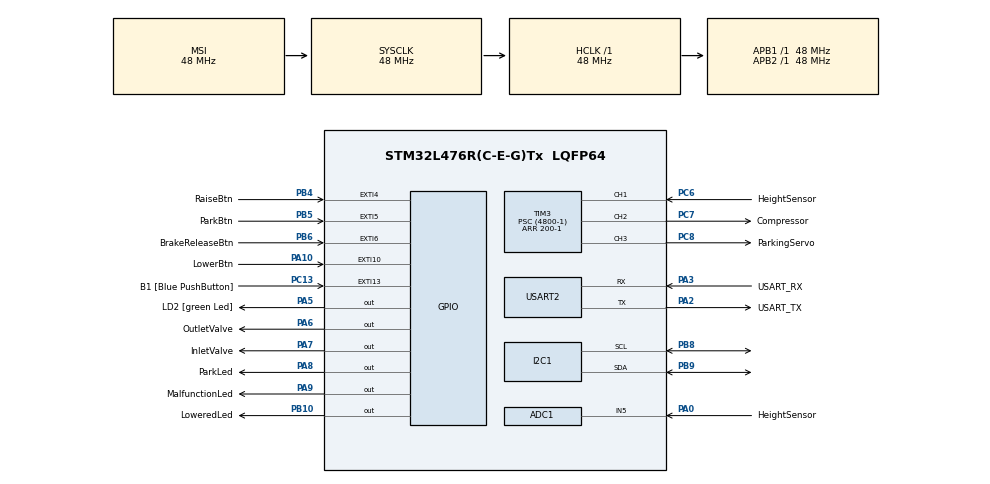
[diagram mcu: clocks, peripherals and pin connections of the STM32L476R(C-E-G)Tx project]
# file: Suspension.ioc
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Mcu.Family=STM32L4
NVIC.ADC1_2_IRQn=true\:0\:0\:false\:false\:true\:true\:true
PA2.GPIO_PuPd=GPIO_NOPULL
RCC.CortexFreq_Value=48000000
ADC1.ContinuousConvMode=ENABLE
PH0-OSC_IN\ (PH0).Signal=RCC_OSC_IN
PA3.GPIO_PuPd=GPIO_NOPULL
PB6.GPIO_ModeDefaultEXTI=GPIO_MODE_IT_FALLING
PA0.GPIO_Label=HeightSensor
PA2.GPIO_Speed=GPIO_SPEED_FREQ_VERY_HIGH
PC6.GPIO_Label=HeightSensor
PA6.GPIO_Label=OutletValve
PB6.GPIO_Label=BrakeReleaseBtn
PC15-OSC32_OUT\ (PC15).Mode=LSE-External-Oscillator
PC13.GPIO_Label=B1 [Blue PushButton]
PA3.GPIO_Speed=GPIO_SPEED_FREQ_VERY_HIGH
ProjectManager.StackSize=0x400
PB3\ (JTDO-TRACESWO).Signal=SYS_JTDO-SWO
PC14-OSC32_IN\ (PC14).Mode=LSE-External-Oscillator
PA14\ (JTCK-SWCLK).Signal=SYS_JTCK-SWCLK
PB4\ (NJTRST).GPIO_ModeDefaultEXTI=GPIO_MODE_IT_FALLING
RCC.HCLKFreq_Value=48000000
ADC1.Resolution=ADC_RESOLUTION_8B
RCC.APB2TimFreq_Value=48000000
TIM3.Period=200-1
PB6.Signal=GPXTI6
PC7.Signal=S_TIM3_CH2
RCC.AHBFreq_Value=48000000
RCC.PREFETCH_ENABLE=1
NVIC.EXTI15_10_IRQn=true\:2\:0\:true\:false\:true\:true\:true
ADC1.Channel-0\#ChannelRegularConversion=ADC_CHANNEL_5
TIM3.Pulse-PWM\ Generation3\ CH3=15-1
RCC.HSE_VALUE=8000000
TIM3.Channel-Input_Capture1_from_TI1=TIM_CHANNEL_1
USART2.VirtualMode-Asynchronous=VM_ASYNC
TIM3.Prescaler=(4800-1)
PA5.GPIO_PuPd=GPIO_NOPULL
PA10.GPIO_Label=LowerBtn
PC13.GPIO_PuPd=GPIO_NOPULL
PA8.Signal=GPIO_Output
SH.S_TIM3_CH1.0=TIM3_CH1,Input_Capture1_from_TI1
ADC1.SamplingTime-0\#ChannelRegularConversion=ADC_SAMPLETIME_12CYCLES_5
PA0.Signal=ADCx_IN5
Mcu.Package=LQFP64
PB9.Signal=I2C1_SDA
PA6.Signal=GPIO_Output
PA10.GPIO_ModeDefaultEXTI=GPIO_MODE_IT_FALLING
PA2.GPIO_Label=USART_TX
PA10.Signal=GPXTI10
PB5.GPIO_Label=ParkBtn
RCC.APB1TimFreq_Value=48000000
TIM3.Pulse-PWM\ Generation2\ CH2=100-1
PA13\ (JTMS-SWDIO).Signal=SYS_JTMS-SWDIO
RCC.MSIClockRange=RCC_MSIRANGE_11
PA3.Signal=USART2_RX
PA2.GPIO_Mode=GPIO_MODE_AF_PP
PB5.GPIO_ModeDefaultEXTI=GPIO_MODE_IT_FALLING
RCC.MSI_VALUE=48000000
RCC.PLLSourceVirtual=RCC_PLLSOURCE_HSI
PA14\ (JTCK-SWCLK).Mode=Serial_Wire
NVIC.EXTI4_IRQn=true\:2\:0\:true\:false\:true\:true\:true
ADC1.Rank-0\#ChannelRegularConversion=1
ADC1.OffsetNumber-0\#ChannelRegularConversion=ADC_OFFSET_NONE
PC13.Signal=GPXTI13
PA9.GPIO_Label=MalfunctionLed
PC8.Signal=S_TIM3_CH3
PC6.Signal=S_TIM3_CH1
PC15-OSC32_OUT\ (PC15).Signal=RCC_OSC32_OUT
PA14\ (JTCK-SWCLK).GPIO_Label=TCK
PB3\ (JTDO-TRACESWO).GPIO_Label=SWO
SH.S_TIM3_CH3.0=TIM3_CH3,PWM Generation3 CH3
PH1-OSC_OUT\ (PH1).Signal=RCC_OSC_OUT
PC8.GPIO_Label=ParkingServo
PA3.Mode=Asynchronous
TIM3.Channel-PWM\ Generation3\ CH3=TIM_CHANNEL_3
PA8.GPIO_Label=ParkLed
ProjectManager.TargetToolchain=MDK-ARM V5.27
PB10.GPIO_Label=LoweredLed
PA3.GPIO_Mode=GPIO_MODE_AF_PP
PB9.Mode=I2C
PA9.Signal=GPIO_Output
I2C1.Timing=0x20303E5D
RCC.USBFreq_Value=64000000
PB10.Signal=GPIO_Output
PA5.Signal=GPIO_Output
SH.S_TIM3_CH2.0=TIM3_CH2,PWM Generation2 CH2
board=NUCLEO-L476RG
RCC.VCOOutputFreq_Value=160000000
NVIC.TIM3_IRQn=true\:1\:0\:true\:false\:true\:true\:true
RCC.APB2Freq_Value=48000000
PA5.GPIO_ModeDefaultOutputPP=GPIO_MODE_OUTPUT_PP
PA13\ (JTMS-SWDIO).GPIO_Label=TMS
RCC.ADCFreq_Value=64000000
ADC1.NbrOfConversion=1
Mcu.Name=STM32L476R(C-E-G)Tx
PA2.Signal=USART2_TX
PC7.GPIO_Label=Compressor
PA13\ (JTMS-SWDIO).Mode=Serial_Wire
RCC.SYSCLKFreq_VALUE=48000000
PB5.Signal=GPXTI5
PA7.GPIO_Label=InletValve
ADC1.master=1
PA5.GPIO_Label=LD2 [green Led]
PC13.GPIO_ModeDefaultEXTI=GPIO_MODE_IT_FALLING
PC14-OSC32_IN\ (PC14).Signal=RCC_OSC32_IN
NVIC.EXTI9_5_IRQn=true\:2\:0\:true\:false\:true\:true\:true
ProjectManager.HeapSize=0x200
RCC.HSI_VALUE=16000000
SH.ADCx_IN5.0=ADC1_IN5,IN5-Single-Ended
PA5.GPIO_Speed=GPIO_SPEED_FREQ_LOW
NVIC.PriorityGroup=NVIC_PRIORITYGROUP_4
ADC1.NbrOfConversionFlag=1
TIM3.Channel-PWM\ Generation2\ CH2=TIM_CHANNEL_2
PB8.Mode=I2C
RCC.PLLN=10
PA2.Mode=Asynchronous
PB8.Signal=I2C1_SCL
PB4\ (NJTRST).GPIO_Label=RaiseBtn
RCC.APB1Freq_Value=48000000
ADC1.ClockPrescaler=ADC_CLOCK_ASYNC_DIV16
PA3.GPIO_Label=USART_RX
PA7.Signal=GPIO_Output
PB4\ (NJTRST).Signal=GPXTI4

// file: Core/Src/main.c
/* USER CODE BEGIN Header */
/**
  ******************************************************************************
  * @file           : main.c
  * @brief          : Main program body
  ******************************************************************************
  * @attention
  *
  * <h2><center>&copy; Copyright (c) 2020 STMicroelectronics.
  * All rights reserved.</center></h2>
  *
  * This software component is licensed by ST under BSD 3-Clause license,
  * the "License"; You may not use this file except in compliance with the
  * License. You may obtain a copy of the License at:
  *                        opensource.org/licenses/BSD-3-Clause
  *
  ******************************************************************************
  */
/* USER CODE END Header */
#include "main.h"

/* USER CODE BEGIN Includes */
#include <string.h>
#include <stdio.h>
/* USER CODE END Includes */

/* USER CODE BEGIN PTD */
enum PBrakeStates{RELEASED,ENGAGED};
enum SuspensionStates {NORMAL, LOWERING, LOW, RAISING};
/* USER CODE END PTD */

ADC_HandleTypeDef hadc1;

I2C_HandleTypeDef hi2c1;

TIM_HandleTypeDef htim3;

UART_HandleTypeDef huart2;

/* USER CODE BEGIN PV */
static const uint8_t TMP_102_ADDR = 0x48 << 1; // Use 8-bit address on the I2C bus
static const uint8_t REG_TEMP = 0x00; // Temperature register address

/* USER CODE END PV */

void SystemClock_Config(void);
static void MX_GPIO_Init(void);
static void MX_ADC1_Init(void);
static void MX_USART2_UART_Init(void);
static void MX_I2C1_Init(void);
static void MX_TIM3_Init(void);

/* USER CODE BEGIN 0 */
// Global states and variables
volatile uint8_t PBrake = RELEASED;
volatile uint8_t Suspension = NORMAL;
volatile uint8_t Malfunction = 0;
volatile uint16_t Height = 0;
/* Captured Values */
uint32_t uwIC2Value1 = 0;
uint32_t uwIC2Value2 = 0;
uint32_t uwDiffCapture = 0;

/* Capture index */
uint16_t uhCaptureIndex = 0;

/* Frequency Value */
uint32_t uwFrequency = 0;

/* USER CODE END 0 */

int main(void)
{
  /* USER CODE BEGIN 1 */
	uint8_t buf[40];
	int16_t val;
	float temp_c;

  /* USER CODE END 1 */

  /* MCU Configuration--------------------------------------------------------*/

  /* Reset of all peripherals, Initializes the Flash interface and the Systick. */
  HAL_Init();

  /* Configure the system clock */
  SystemClock_Config();

  /* Initialize all configured peripherals */
  MX_GPIO_Init();
  MX_ADC1_Init();
  MX_USART2_UART_Init();
  MX_I2C1_Init();
  MX_TIM3_Init();
  /* USER CODE BEGIN 2 */
	HAL_TIM_PWM_Start(&htim3, TIM_CHANNEL_3);
	HAL_ADC_Start_IT(&hadc1);
	strcpy((char*)buf, "\n Automotive Systems 2: Suspension demo\r\n");
	HAL_UART_Transmit(&huart2, buf, strlen((char*)buf), HAL_MAX_DELAY);
  /* USER CODE END 2 */

  /* Infinite loop */
  /* USER CODE BEGIN WHILE */
  while (1)
  {
		HAL_GPIO_TogglePin (GPIOA, GPIO_PIN_5);  /* To show that the system is alive */
		switch (Suspension){
			case LOWERING:
				HAL_GPIO_TogglePin(LoweredLed_GPIO_Port, LoweredLed_Pin);
				break;
			case RAISING:
				HAL_GPIO_TogglePin(LoweredLed_GPIO_Port, LoweredLed_Pin);
				break;
			case NORMAL:
				HAL_GPIO_WritePin(LoweredLed_GPIO_Port, LoweredLed_Pin, GPIO_PIN_RESET);
				break;
			case LOW:
				HAL_GPIO_WritePin(LoweredLed_GPIO_Port, LoweredLed_Pin, GPIO_PIN_SET);
				break;
			default:
				break;
		}
		if (Malfunction) {
			HAL_GPIO_TogglePin(MalfunctionLed_GPIO_Port, MalfunctionLed_Pin);
		}
		HAL_Delay (250); /* Insert delay 250 ms */

		// Tell TMP_102 that we wat to read from the temperature register
		buf[0] = REG_TEMP;
		if (HAL_I2C_Master_Transmit(&hi2c1, TMP_102_ADDR, buf, 2 , HAL_MAX_DELAY) != HAL_OK) {
			strcpy((char*)buf, "Error in I2C Tx\r\n");
		} else {
			if (HAL_I2C_Master_Receive(&hi2c1, TMP_102_ADDR, buf, 2, HAL_MAX_DELAY) != HAL_OK) {
				strcpy((char*)buf, "Error in I2C Rx\r\n");
			} else {
				val = ((int16_t)buf[0] << 4) | (buf[1] >> 4);
				if (val > 0x7FF) {
					val |=0xF000;
				}
				temp_c = val * 0.0625;
				temp_c *= 100;
				sprintf((char*)buf, "%u.%u C\r\n", ((unsigned int)temp_c/100), ((unsigned int)temp_c%100));
			}
		}
		HAL_UART_Transmit(&huart2, buf, strlen((char*)buf), HAL_MAX_DELAY);
		sprintf((char*)buf, "%u Hz\r\n", uwFrequency);
		HAL_UART_Transmit(&huart2, buf, strlen((char*)buf), HAL_MAX_DELAY);
    /* USER CODE END WHILE */

  }
}

void SystemClock_Config(void)
{
  RCC_OscInitTypeDef RCC_OscInitStruct = {0};
  RCC_ClkInitTypeDef RCC_ClkInitStruct = {0};
  RCC_PeriphCLKInitTypeDef PeriphClkInit = {0};

  /** Configure LSE Drive Capability
  */
  HAL_PWR_EnableBkUpAccess();
  __HAL_RCC_LSEDRIVE_CONFIG(RCC_LSEDRIVE_LOW);
  /** Initializes the RCC Oscillators according to the specified parameters
  * in the RCC_OscInitTypeDef structure.
  */
  RCC_OscInitStruct.OscillatorType = RCC_OSCILLATORTYPE_HSI|RCC_OSCILLATORTYPE_LSE
                              |RCC_OSCILLATORTYPE_MSI;
  RCC_OscInitStruct.LSEState = RCC_LSE_ON;
  RCC_OscInitStruct.HSIState = RCC_HSI_ON;
  RCC_OscInitStruct.HSICalibrationValue = RCC_HSICALIBRATION_DEFAULT;
  RCC_OscInitStruct.MSIState = RCC_MSI_ON;
  RCC_OscInitStruct.MSICalibrationValue = 0;
  RCC_OscInitStruct.MSIClockRange = RCC_MSIRANGE_11;
  RCC_OscInitStruct.PLL.PLLState = RCC_PLL_NONE;
  if (HAL_RCC_OscConfig(&RCC_OscInitStruct) != HAL_OK)
  {
    Error_Handler();
  }
  /** Initializes the CPU, AHB and APB buses clocks
  */
  RCC_ClkInitStruct.ClockType = RCC_CLOCKTYPE_HCLK|RCC_CLOCKTYPE_SYSCLK
                              |RCC_CLOCKTYPE_PCLK1|RCC_CLOCKTYPE_PCLK2;
  RCC_ClkInitStruct.SYSCLKSource = RCC_SYSCLKSOURCE_MSI;
  RCC_ClkInitStruct.AHBCLKDivider = RCC_SYSCLK_DIV1;
  RCC_ClkInitStruct.APB1CLKDivider = RCC_HCLK_DIV1;
  RCC_ClkInitStruct.APB2CLKDivider = RCC_HCLK_DIV1;

  if (HAL_RCC_ClockConfig(&RCC_ClkInitStruct, FLASH_LATENCY_2) != HAL_OK)
  {
    Error_Handler();
  }
  PeriphClkInit.PeriphClockSelection = RCC_PERIPHCLK_USART2|RCC_PERIPHCLK_I2C1
                              |RCC_PERIPHCLK_ADC;
  PeriphClkInit.Usart2ClockSelection = RCC_USART2CLKSOURCE_PCLK1;
  PeriphClkInit.I2c1ClockSelection = RCC_I2C1CLKSOURCE_PCLK1;
  PeriphClkInit.AdcClockSelection = RCC_ADCCLKSOURCE_PLLSAI1;
  PeriphClkInit.PLLSAI1.PLLSAI1Source = RCC_PLLSOURCE_HSI;
  PeriphClkInit.PLLSAI1.PLLSAI1M = 1;
  PeriphClkInit.PLLSAI1.PLLSAI1N = 8;
  PeriphClkInit.PLLSAI1.PLLSAI1P = RCC_PLLP_DIV7;
  PeriphClkInit.PLLSAI1.PLLSAI1Q = RCC_PLLQ_DIV2;
  PeriphClkInit.PLLSAI1.PLLSAI1R = RCC_PLLR_DIV2;
  PeriphClkInit.PLLSAI1.PLLSAI1ClockOut = RCC_PLLSAI1_ADC1CLK;
  if (HAL_RCCEx_PeriphCLKConfig(&PeriphClkInit) != HAL_OK)
  {
    Error_Handler();
  }
  /** Configure the main internal regulator output voltage
  */
  if (HAL_PWREx_ControlVoltageScaling(PWR_REGULATOR_VOLTAGE_SCALE1) != HAL_OK)
  {
    Error_Handler();
  }
  /** Enable MSI Auto calibration
  */
  HAL_RCCEx_EnableMSIPLLMode();
}

static void MX_ADC1_Init(void)
{

  ADC_MultiModeTypeDef multimode = {0};
  ADC_ChannelConfTypeDef sConfig = {0};

  /** Common config
  */
  hadc1.Instance = ADC1;
  hadc1.Init.ClockPrescaler = ADC_CLOCK_ASYNC_DIV16;
  hadc1.Init.Resolution = ADC_RESOLUTION_8B;
  hadc1.Init.DataAlign = ADC_DATAALIGN_RIGHT;
  hadc1.Init.ScanConvMode = ADC_SCAN_DISABLE;
  hadc1.Init.EOCSelection = ADC_EOC_SINGLE_CONV;
  hadc1.Init.LowPowerAutoWait = DISABLE;
  hadc1.Init.ContinuousConvMode = ENABLE;
  hadc1.Init.NbrOfConversion = 1;
  hadc1.Init.DiscontinuousConvMode = DISABLE;
  hadc1.Init.ExternalTrigConv = ADC_SOFTWARE_START;
  hadc1.Init.ExternalTrigConvEdge = ADC_EXTERNALTRIGCONVEDGE_NONE;
  hadc1.Init.DMAContinuousRequests = DISABLE;
  hadc1.Init.Overrun = ADC_OVR_DATA_PRESERVED;
  hadc1.Init.OversamplingMode = DISABLE;
  if (HAL_ADC_Init(&hadc1) != HAL_OK)
  {
    Error_Handler();
  }
  /** Configure the ADC multi-mode
  */
  multimode.Mode = ADC_MODE_INDEPENDENT;
  if (HAL_ADCEx_MultiModeConfigChannel(&hadc1, &multimode) != HAL_OK)
  {
    Error_Handler();
  }
  /** Configure Regular Channel
  */
  sConfig.Channel = ADC_CHANNEL_5;
  sConfig.Rank = ADC_REGULAR_RANK_1;
  sConfig.SamplingTime = ADC_SAMPLETIME_12CYCLES_5;
  sConfig.SingleDiff = ADC_SINGLE_ENDED;
  sConfig.OffsetNumber = ADC_OFFSET_NONE;
  sConfig.Offset = 0;
  if (HAL_ADC_ConfigChannel(&hadc1, &sConfig) != HAL_OK)
  {
    Error_Handler();
  }

}

static void MX_I2C1_Init(void)
{

  hi2c1.Instance = I2C1;
  hi2c1.Init.Timing = 0x20303E5D;
  hi2c1.Init.OwnAddress1 = 0;
  hi2c1.Init.AddressingMode = I2C_ADDRESSINGMODE_7BIT;
  hi2c1.Init.DualAddressMode = I2C_DUALADDRESS_DISABLE;
  hi2c1.Init.OwnAddress2 = 0;
  hi2c1.Init.OwnAddress2Masks = I2C_OA2_NOMASK;
  hi2c1.Init.GeneralCallMode = I2C_GENERALCALL_DISABLE;
  hi2c1.Init.NoStretchMode = I2C_NOSTRETCH_DISABLE;
  if (HAL_I2C_Init(&hi2c1) != HAL_OK)
  {
    Error_Handler();
  }
  /** Configure Analogue filter
  */
  if (HAL_I2CEx_ConfigAnalogFilter(&hi2c1, I2C_ANALOGFILTER_ENABLE) != HAL_OK)
  {
    Error_Handler();
  }
  /** Configure Digital filter
  */
  if (HAL_I2CEx_ConfigDigitalFilter(&hi2c1, 0) != HAL_OK)
  {
    Error_Handler();
  }

}

static void MX_TIM3_Init(void)
{

  TIM_MasterConfigTypeDef sMasterConfig = {0};
  TIM_IC_InitTypeDef sConfigIC = {0};
  TIM_OC_InitTypeDef sConfigOC = {0};

  htim3.Instance = TIM3;
  htim3.Init.Prescaler = (4800-1);
  htim3.Init.CounterMode = TIM_COUNTERMODE_UP;
  htim3.Init.Period = 200-1;
  htim3.Init.ClockDivision = TIM_CLOCKDIVISION_DIV1;
  htim3.Init.AutoReloadPreload = TIM_AUTORELOAD_PRELOAD_DISABLE;
  if (HAL_TIM_IC_Init(&htim3) != HAL_OK)
  {
    Error_Handler();
  }
  if (HAL_TIM_PWM_Init(&htim3) != HAL_OK)
  {
    Error_Handler();
  }
  sMasterConfig.MasterOutputTrigger = TIM_TRGO_RESET;
  sMasterConfig.MasterSlaveMode = TIM_MASTERSLAVEMODE_DISABLE;
  if (HAL_TIMEx_MasterConfigSynchronization(&htim3, &sMasterConfig) != HAL_OK)
  {
    Error_Handler();
  }
  sConfigIC.ICPolarity = TIM_INPUTCHANNELPOLARITY_RISING;
  sConfigIC.ICSelection = TIM_ICSELECTION_DIRECTTI;
  sConfigIC.ICPrescaler = TIM_ICPSC_DIV1;
  sConfigIC.ICFilter = 0;
  if (HAL_TIM_IC_ConfigChannel(&htim3, &sConfigIC, TIM_CHANNEL_1) != HAL_OK)
  {
    Error_Handler();
  }
  sConfigOC.OCMode = TIM_OCMODE_PWM1;
  sConfigOC.Pulse = 100-1;
  sConfigOC.OCPolarity = TIM_OCPOLARITY_HIGH;
  sConfigOC.OCFastMode = TIM_OCFAST_DISABLE;
  if (HAL_TIM_PWM_ConfigChannel(&htim3, &sConfigOC, TIM_CHANNEL_2) != HAL_OK)
  {
    Error_Handler();
  }
  sConfigOC.Pulse = 15-1;
  if (HAL_TIM_PWM_ConfigChannel(&htim3, &sConfigOC, TIM_CHANNEL_3) != HAL_OK)
  {
    Error_Handler();
  }
  /* USER CODE BEGIN TIM3_Init 2 */
  /*## Start the Input Capture in interrupt mode ##########################*/
   if(HAL_TIM_IC_Start_IT(&htim3, TIM_CHANNEL_1) != HAL_OK)
   {
     /* Starting Error */
     Error_Handler();
   }

  /* USER CODE END TIM3_Init 2 */
  HAL_TIM_MspPostInit(&htim3);

}

static void MX_USART2_UART_Init(void)
{

  huart2.Instance = USART2;
  huart2.Init.BaudRate = 115200;
  huart2.Init.WordLength = UART_WORDLENGTH_8B;
  huart2.Init.StopBits = UART_STOPBITS_1;
  huart2.Init.Parity = UART_PARITY_NONE;
  huart2.Init.Mode = UART_MODE_TX_RX;
  huart2.Init.HwFlowCtl = UART_HWCONTROL_NONE;
  huart2.Init.OverSampling = UART_OVERSAMPLING_16;
  huart2.Init.OneBitSampling = UART_ONE_BIT_SAMPLE_DISABLE;
  huart2.AdvancedInit.AdvFeatureInit = UART_ADVFEATURE_NO_INIT;
  if (HAL_UART_Init(&huart2) != HAL_OK)
  {
    Error_Handler();
  }

}

static void MX_GPIO_Init(void)
{
  GPIO_InitTypeDef GPIO_InitStruct = {0};

  /* GPIO Ports Clock Enable */
  __HAL_RCC_GPIOC_CLK_ENABLE();
  __HAL_RCC_GPIOH_CLK_ENABLE();
  __HAL_RCC_GPIOA_CLK_ENABLE();
  __HAL_RCC_GPIOB_CLK_ENABLE();

  /*Configure GPIO pin Output Level */
  HAL_GPIO_WritePin(GPIOA, LD2_Pin|OutletValve_Pin|InletValve_Pin|ParkLed_Pin
                          |MalfunctionLed_Pin, GPIO_PIN_RESET);

  /*Configure GPIO pin Output Level */
  HAL_GPIO_WritePin(LoweredLed_GPIO_Port, LoweredLed_Pin, GPIO_PIN_RESET);

  /*Configure GPIO pin : B1_Pin */
  GPIO_InitStruct.Pin = B1_Pin;
  GPIO_InitStruct.Mode = GPIO_MODE_IT_FALLING;
  GPIO_InitStruct.Pull = GPIO_NOPULL;
  HAL_GPIO_Init(B1_GPIO_Port, &GPIO_InitStruct);

  /*Configure GPIO pins : LD2_Pin OutletValve_Pin InletValve_Pin ParkLed_Pin
                           MalfunctionLed_Pin */
  GPIO_InitStruct.Pin = LD2_Pin|OutletValve_Pin|InletValve_Pin|ParkLed_Pin
                          |MalfunctionLed_Pin;
  GPIO_InitStruct.Mode = GPIO_MODE_OUTPUT_PP;
  GPIO_InitStruct.Pull = GPIO_NOPULL;
  GPIO_InitStruct.Speed = GPIO_SPEED_FREQ_LOW;
  HAL_GPIO_Init(GPIOA, &GPIO_InitStruct);

  /*Configure GPIO pin : LoweredLed_Pin */
  GPIO_InitStruct.Pin = LoweredLed_Pin;
  GPIO_InitStruct.Mode = GPIO_MODE_OUTPUT_PP;
  GPIO_InitStruct.Pull = GPIO_NOPULL;
  GPIO_InitStruct.Speed = GPIO_SPEED_FREQ_LOW;
  HAL_GPIO_Init(LoweredLed_GPIO_Port, &GPIO_InitStruct);

  /*Configure GPIO pin : LowerBtn_Pin */
  GPIO_InitStruct.Pin = LowerBtn_Pin;
  GPIO_InitStruct.Mode = GPIO_MODE_IT_FALLING;
  GPIO_InitStruct.Pull = GPIO_NOPULL;
  HAL_GPIO_Init(LowerBtn_GPIO_Port, &GPIO_InitStruct);

  /*Configure GPIO pins : RaiseBtn_Pin ParkBtn_Pin BrakeReleaseBtn_Pin */
  GPIO_InitStruct.Pin = RaiseBtn_Pin|ParkBtn_Pin|BrakeReleaseBtn_Pin;
  GPIO_InitStruct.Mode = GPIO_MODE_IT_FALLING;
  GPIO_InitStruct.Pull = GPIO_NOPULL;
  HAL_GPIO_Init(GPIOB, &GPIO_InitStruct);

  /* EXTI interrupt init*/
  HAL_NVIC_SetPriority(EXTI4_IRQn, 2, 0);
  HAL_NVIC_EnableIRQ(EXTI4_IRQn);

  HAL_NVIC_SetPriority(EXTI9_5_IRQn, 2, 0);
  HAL_NVIC_EnableIRQ(EXTI9_5_IRQn);

  HAL_NVIC_SetPriority(EXTI15_10_IRQn, 2, 0);
  HAL_NVIC_EnableIRQ(EXTI15_10_IRQn);

}

/* USER CODE BEGIN 4 */
void HAL_GPIO_EXTI_Callback(uint16_t GPIO_Pin){
	switch (GPIO_Pin) {
		case ParkBtn_Pin:
			PBrake = ENGAGED;
			HAL_GPIO_WritePin(ParkLed_GPIO_Port, ParkLed_Pin, GPIO_PIN_SET);
			__HAL_TIM_SET_COMPARE(&htim3, TIM_CHANNEL_3, 22);

			break;
		case BrakeReleaseBtn_Pin:
			if (Suspension == NORMAL) {
				PBrake = RELEASED;
				HAL_GPIO_WritePin(ParkLed_GPIO_Port, ParkLed_Pin, GPIO_PIN_RESET);
				__HAL_TIM_SET_COMPARE(&htim3, TIM_CHANNEL_3, 15);
			}
			break;
		case LowerBtn_Pin:
			if (PBrake == ENGAGED) {
				Suspension = LOWERING;
				HAL_GPIO_WritePin(InletValve_GPIO_Port, InletValve_Pin, GPIO_PIN_RESET);
				HAL_GPIO_WritePin(OutletValve_GPIO_Port, OutletValve_Pin, GPIO_PIN_SET);
				HAL_GPIO_WritePin(LoweredLed_GPIO_Port, LoweredLed_Pin, GPIO_PIN_SET);
			}
		break;
		case RaiseBtn_Pin:
			if (Suspension != NORMAL) {
				Suspension = RAISING;
				HAL_GPIO_WritePin(OutletValve_GPIO_Port, OutletValve_Pin, GPIO_PIN_RESET);
				HAL_GPIO_WritePin(InletValve_GPIO_Port, InletValve_Pin, GPIO_PIN_SET);
				HAL_TIM_PWM_Start(&htim3, TIM_CHANNEL_2);
			}
			break;
		default:
			Malfunction = 1;
			break;
	}
}

void HAL_ADC_ConvCpltCallback(ADC_HandleTypeDef *hadc) {
	Height = HAL_ADC_GetValue(&hadc1);
	if (Suspension == LOWERING && Height < 30) {
			HAL_GPIO_WritePin(OutletValve_GPIO_Port, OutletValve_Pin, GPIO_PIN_RESET);
			Suspension = LOW;
	} else if (Suspension == RAISING && Height > 220) {
			HAL_GPIO_WritePin(InletValve_GPIO_Port,InletValve_Pin, GPIO_PIN_RESET);
			Suspension = NORMAL;
	}
}

/**
  * @brief  Conversion complete callback in non blocking mode
  * @param  htim : hadc handle
  * @retval None
  */
void HAL_TIM_IC_CaptureCallback(TIM_HandleTypeDef *htim)
{
  if (htim->Channel == HAL_TIM_ACTIVE_CHANNEL_1)
  {
    if(uhCaptureIndex == 0)
    {
      /* Get the 1st Input Capture value */
      uwIC2Value1 = HAL_TIM_ReadCapturedValue(htim, TIM_CHANNEL_1);
      uhCaptureIndex = 1;
    }
    else if(uhCaptureIndex == 1)
    {
      /* Get the 2nd Input Capture value */
      uwIC2Value2 = HAL_TIM_ReadCapturedValue(htim, TIM_CHANNEL_1);

      /* Capture computation */
      if (uwIC2Value2 > uwIC2Value1)
      {
        uwDiffCapture = (uwIC2Value2 - uwIC2Value1);
      }
      else if (uwIC2Value2 < uwIC2Value1)
      {
        /* 0xFFFF is max TIM1_CCRx value */
        uwDiffCapture = ((0xFFFF - uwIC2Value1) + uwIC2Value2) + 1;
      }
      else
      {
        /* If capture values are equal, we have reached the limit of frequency
           measures */
        Error_Handler();
      }
      /* Frequency computation: 1000* (1/cycle in ms) */
			uwFrequency = 1000 / uwDiffCapture;
      uhCaptureIndex = 0;
    }
  }
}

/* USER CODE END 4 */

void Error_Handler(void)
{
}

/************************ (C) COPYRIGHT STMicroelectronics *****END OF FILE****/
